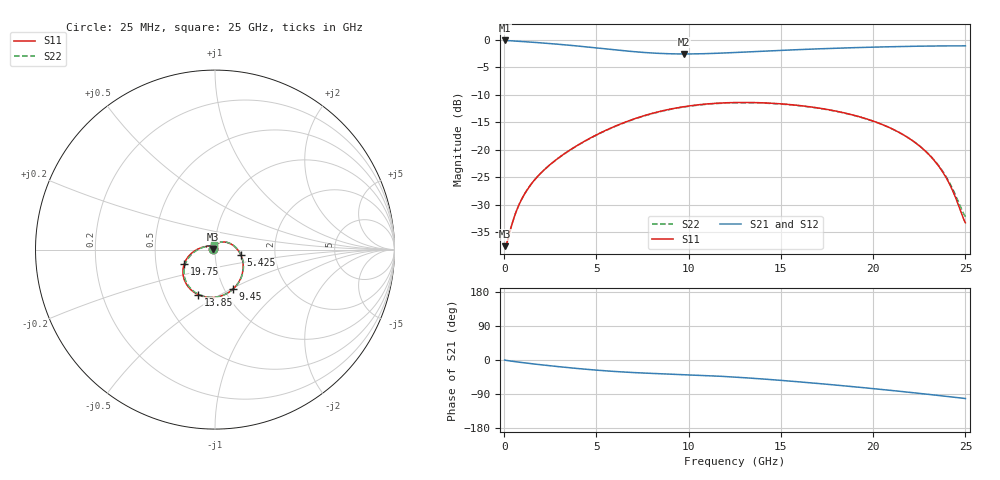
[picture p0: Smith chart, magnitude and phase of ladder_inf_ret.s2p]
! RG_s4_pwr_n4: kisi's ladder, infinite plates, return groups (Finite board 24 × 16 mm, via L1 → L4 through the GND/PWR pair L2/L3, four GND vias at 1 mm joined to L2 only (openings in the PWR plane L3))
# Hz S RI R 50
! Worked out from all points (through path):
!   1000 points, 25 MHz to 25 GHz, reference 50 ohm
!   highest |S21| = -0.12 dB at 25 MHz (marker M1); lowest = -2.6 dB at 9.75 GHz (marker M2)
!   group delay of S21, straight-line fit = 9.91 ps
!   lowest |S11| = -37.5 dB at 50 MHz (marker M3), VSWR 1.03, Z = 48.7 + j0.345 ohm
!   |S11| at or under -10 dB: start of sweep to end of sweep
!   |S22| runs from -37.5 to -11.4 dB; largest |S21 - S12| = 0
!   S11 on the Smith chart (normalised r, x): 25 MHz: 0.97, +0.00; 5.425 GHz: 1.33, -0.09; 9.45 GHz: 1.09, -0.51; 13.85 GHz: 0.74, -0.40; 19.75 GHz: 0.70, -0.11; 25 GHz: 0.99, +0.04
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2.5e7  -0.0132 0.0019  0.9862 -0.00394  0.9862 -0.00394  -0.0132 0.0019
5e7  -0.0128 0.00354  0.9858 -0.0076  0.9858 -0.0076  -0.0128 0.00353
1.75e8  -0.0104 0.0104  0.9832 -0.0246  0.9832 -0.0246  -0.0104 0.0104
5e8  -0.00191 0.0229  0.9741 -0.0636  0.9741 -0.0636  -0.00196 0.0229
7.5e8  0.0053 0.0296  0.9658 -0.0905  0.9658 -0.0905  0.0052 0.0296
1.45e9  0.0268 0.0402  0.9392 -0.1579  0.9392 -0.1579  0.0265 0.0404
2.575e9  0.0635 0.0407  0.8873 -0.2487  0.8873 -0.2487  0.0629 0.0414
4.2e9  0.115 0.0117  0.7988 -0.3464  0.7988 -0.3464  0.1144 0.0136
5.425e9  0.1445 -0.0318  0.7299 -0.3938  0.7299 -0.3938  0.1445 -0.0287
6.9e9  0.1568 -0.1023  0.6581 -0.4253  0.6581 -0.4253  0.1584 -0.0979
8.35e9  0.1356 -0.1751  0.6092 -0.4428  0.6092 -0.4428  0.1395 -0.1703
9.45e9  0.0993 -0.2207  0.5862 -0.458  0.5862 -0.458  0.1051 -0.2164
9.75e9  0.0872 -0.2308  0.5813 -0.4633  0.5813 -0.4633  0.0935 -0.2267
1.2525e10  -0.0394 -0.2661  0.54 -0.5437  0.54 -0.5437  -0.0299 -0.2657
1.385e10  -0.093 -0.2512  0.5097 -0.597  0.5097 -0.597  -0.0832 -0.2531
1.6675e10  -0.1662 -0.1796  0.4052 -0.7163  0.4052 -0.7163  -0.158 -0.1854
1.975e10  -0.1711 -0.0789  0.2313 -0.8234  0.2313 -0.8234  -0.1671 -0.086
2.085e10  -0.1535 -0.0454  0.1555 -0.8501  0.1555 -0.8501  -0.1512 -0.0519
2.2275e10  -0.1161 -0.00916  0.0482 -0.8722  0.0482 -0.8722  -0.1158 -0.0137
2.3375e10  -0.0769 0.0105  -0.0407 -0.8775  -0.0407 -0.8775  -0.078 0.00819
2.4125e10  -0.0459 0.0183  -0.1036 -0.8743  -0.1036 -0.8743  -0.0474 0.0181
2.5e10  -0.00609 0.0209  -0.1783 -0.8627  -0.1783 -0.8627  -0.00791 0.0234
